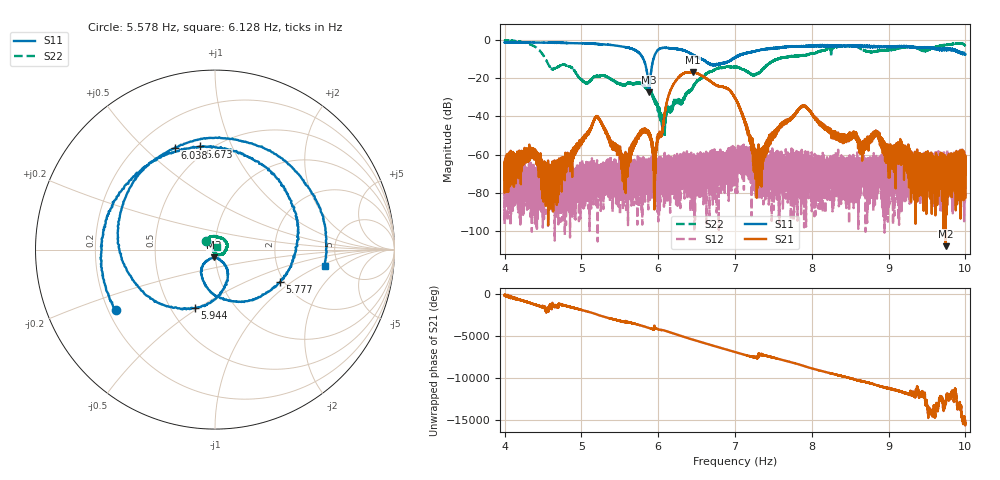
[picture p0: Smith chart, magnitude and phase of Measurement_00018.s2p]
!Created with skrf (http://scikit-rf.org).
# Hz S RI R 50.0
!freq ReS11 ImS11 ReS21 ImS21 ReS12 ImS12 ReS22 ImS22
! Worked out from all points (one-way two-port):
!   14001 points, 4 Hz to 10 Hz, reference 50 ohm
!   highest |S21| = -16.76 dB at 6.448 Hz (marker M1); lowest = -108.0 dB at 9.743 Hz (marker M2)
!   lowest |S11| = -27.3 dB at 5.881 Hz (marker M3), VSWR 1.09, Z = 49.4 - j4.26 ohm
!   |S11| at or under -10 dB: 5.808 Hz to 5.937 Hz (128.8 mHz wide, 2.19 % of centre); 6.565763 Hz to 6.582074 Hz (16.31 mHz wide, 0.248 % of centre); 6.582 Hz to 6.963 Hz (380.4 mHz wide, 5.62 % of centre) (the widest 3 of 4)
!   |S22| runs from -50.2 to -0.2 dB; largest |S21 - S12| = 0.15
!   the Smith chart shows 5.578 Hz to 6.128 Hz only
!   S11 on the Smith chart (normalised r, x): 5.578 Hz: 0.23, -0.27; 5.673 Hz: 0.44, +0.76; 5.777 Hz: 1.90, -0.83; 5.944 Hz: 0.66, -0.49; 6.038 Hz: 0.35, +0.63; 6.128 Hz: 3.88, -1.15
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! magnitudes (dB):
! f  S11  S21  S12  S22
! 4 Hz  -1.2  -71.7  -96.4  -0.3
! 4.351 Hz  -1.2  -59.0  -72.2  -2.5
! 4.59 Hz  -1.4  -77.4  -75.0  -14.1
! 5 Hz  -1.7  -52.3  -67.3  -20.7
! 5.212 Hz  -2.1  -40.3  -69.0  -18.8
! 5.578 Hz  -3.8  -61.4  -74.1  -23.2
! 5.673 Hz  -4.7  -55.2  -78.3  -22.8
! 5.777 Hz  -7.9  -48.5  -66.6  -22.6
! 5.881 Hz  -27.3  -49.7  -69.4  -26.0
! 5.944 Hz  -9.2  -63.6  -76.6  -31.1
! 6 Hz  -5.1  -51.2  -77.4  -34.7
! 6.038 Hz  -4.3  -49.1  -72.5  -40.7
! 6.128 Hz  -4.2  -30.1  -65.7  -35.4
! 6.448 Hz  -7.7  -16.8  -67.8  -25.1
! 7 Hz  -9.1  -30.1  -66.1  -14.0
! 7.301 Hz  -5.4  -64.6  -63.7  -17.6
! 7.607 Hz  -3.8  -45.2  -66.3  -9.3
! 8 Hz  -3.2  -38.5  -65.9  -6.9
! 8.847 Hz  -3.5  -49.7  -63.2  -6.0
! 9 Hz  -3.6  -64.8  -67.4  -5.0
! 9.743 Hz  -4.6  -108.0  -71.6  -2.5
! 10 Hz  -7.5  -62.5  -73.4  -3.1
